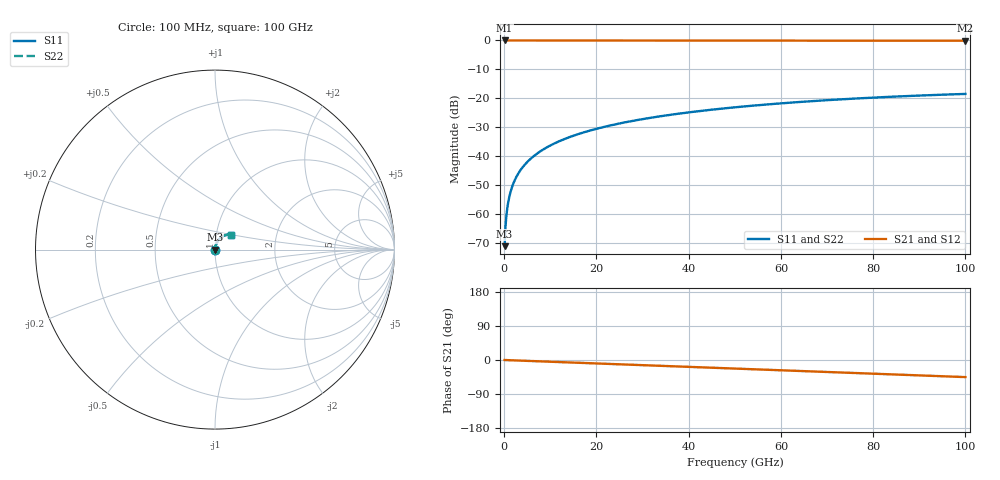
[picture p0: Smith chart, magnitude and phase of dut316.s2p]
! Touchstone file exported from HFSS 2026.1.0
!  File:  C:/ffzhzh/LocalFiles/Ansys_Project_Files/temp_train_TSV_316_1783509412_41296.aedt
!  Generated:  07:18:16 PM Jul  8, 2026
!  Design:  TSV
!  Project:  temp_train_TSV_316_1783509412_41296
! Variables:
!  h_bsmrdl = 2um
!  h_ox = 20um
!  h_rdl = 5um
!  h_sub = 91.27um
!  h_tmrdl = 5um
!  h_tsv = 91.27um
!  h_via = 3um
!  l_bsmrdl = 300um
!  l_sub = 415.86um
!  l_tmrdl = 200um
!  m_sub = 200um
!  pitch = 40.94um
!  r_tsv = 7.93um
!  s_tmrdl = 10um
!  w_bsmrdl = 18um
!  w_sub = 500um
!  w_tmrdl = 12um
!  x_tsv_center1 = 206um
!  x_tsv_center2 = 524um
!  x_tsv_center3 = 736um
!  x_tsv_center4 = 1054um
!  x_tsv_center5 = 1266um
!  x_tsv_center6 = 1584um
# GHz S MA R 50.000000
! Terminal data exported
! Port[1] = TSV1_1_T1
! Port[2] = TSV1_1_T2
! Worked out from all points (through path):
!   1000 points, 100 MHz to 100 GHz, reference 50 ohm
!   highest |S21| = 0.00 dB at 100 MHz (marker M1); lowest = -0.1 dB at 100 GHz (marker M2)
!   group delay of S21, straight-line fit = 1.25 ps
!   lowest |S11| = -70.9 dB at 100 MHz (marker M3), VSWR 1.00, Z = 50 + j0.0199 ohm
!   |S11| at or under -10 dB: start of sweep to end of sweep
!   |S22| runs from -70.9 to -18.4 dB; largest |S21 - S12| = 5.7e-15
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0.1  0.0002843 44.4  0.9998 -0.0  0.9998 -0.0  0.0002843 44.4
! Gamma 0 0 0 0
! Port Impedance 50 0 50 0
0.4  0.0008056 71.1  0.9997 -0.2  0.9997 -0.2  0.0008056 71.1
0.7  0.001319 75.7  0.9997 -0.3  0.9997 -0.3  0.001319 75.7
0.8  0.001486 76.5  0.9997 -0.4  0.9997 -0.4  0.001486 76.5
1.1  0.001981 78.2  0.9996 -0.5  0.9996 -0.5  0.001981 78.2
1.4  0.00247 79.2  0.9996 -0.7  0.9996 -0.7  0.00247 79.2
1.9  0.003271 80.2  0.9995 -0.9  0.9995 -0.9  0.003271 80.2
2.4  0.004057 80.7  0.9994 -1.1  0.9994 -1.1  0.004057 80.7
3.1  0.005138 81.1  0.9993 -1.4  0.9993 -1.4  0.005138 81.1
3.9  0.006356 81.4  0.9992 -1.8  0.9992 -1.8  0.006356 81.4
4.9  0.007865 81.6  0.9991 -2.3  0.9991 -2.3  0.007865 81.6
6.1  0.009665 81.7  0.999 -2.8  0.999 -2.8  0.009665 81.7
8.9  0.01384 81.3  0.9988 -4.1  0.9988 -4.1  0.01384 81.3
12.4  0.01898 80.2  0.9985 -5.7  0.9985 -5.7  0.01898 80.2
16.8  0.02537 78.8  0.9981 -7.7  0.9981 -7.7  0.02537 78.8
24.2  0.03593 76.0  0.9975 -11.0  0.9975 -11.0  0.03593 76.0
33.4  0.0487 72.3  0.9966 -15.2  0.9966 -15.2  0.0487 72.3
41.2  0.05912 69.0  0.9958 -18.7  0.9958 -18.7  0.05912 69.0
50.1  0.07048 65.2  0.9948 -22.7  0.9948 -22.7  0.07048 65.2
66.7  0.08989 58.0  0.9929 -30.2  0.9929 -30.2  0.08989 58.0
83.4  0.1066 50.6  0.9909 -37.7  0.9909 -37.7  0.1066 50.7
100  0.1197 43.4  0.989 -45.1  0.989 -45.1  0.1197 43.4
